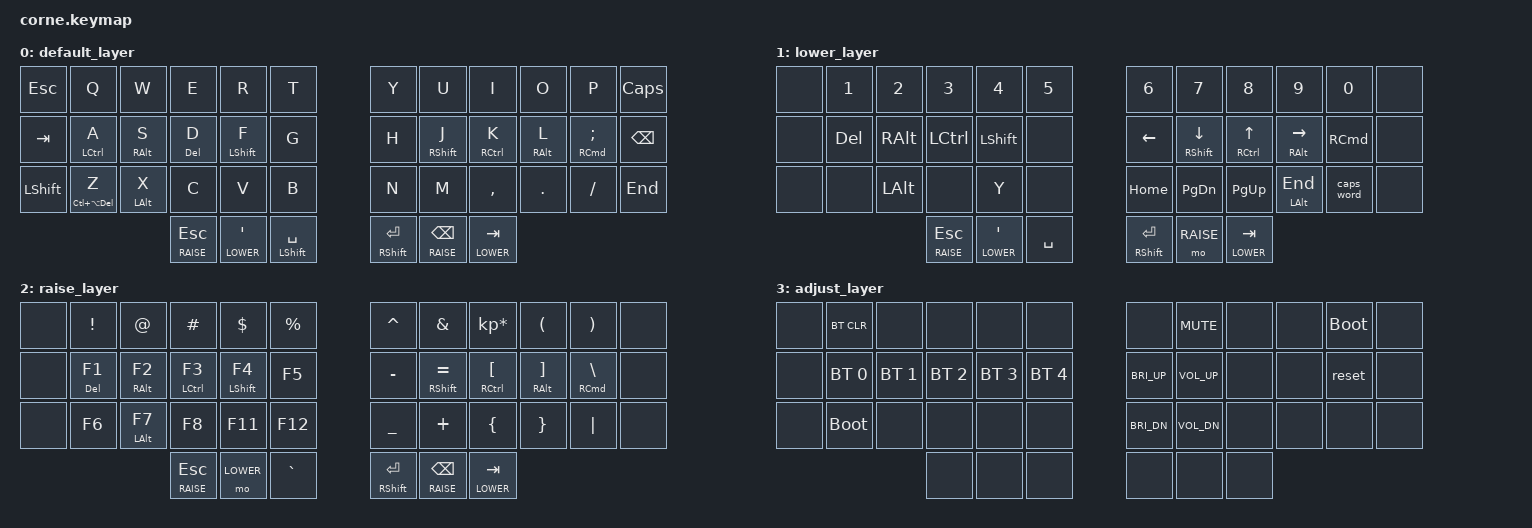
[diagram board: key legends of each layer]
/*
 * Copyright (c) 2020 The ZMK Contributors
 *
 * SPDX-License-Identifier: MIT
 */

#include <behaviors.dtsi>
#include <dt-bindings/zmk/keys.h>
#include <dt-bindings/zmk/bt.h>


#define DEFAULT 0
#define LOWER   1
#define RAISE   2
#define ADJUST  3
#define LWR LOWER
#define RSE RAISE
#define ADJ ADJUST

&mt {
    flavor = "tap-preferred";
    tapping-term-ms = <250>;
    quick_tap_ms = <180>;
};

&lt {
    /* flavor = "balanced"; */
    quick_tap_ms = <200>;
    tapping-term-ms = <180>;
};

/ {
        combos {
           compatible = "zmk,combos";
           combo_lpar {
              timeout-ms = <50>;
              key-positions = <25 26>;
              bindings = <&kp LPAR>;
           };

           combo_rpar {
              timeout-ms = <50>;
              key-positions = <33 34>;
              bindings = <&kp RPAR>;
           };
        };

        conditional_layers {
            compatible = "zmk,conditional-layers";
            tri_layer {
                if-layers = <LOWER RAISE>;
                then-layer = <ADJUST>;
            };
        };

        keymap {
                compatible = "zmk,keymap";

                default_layer {
                        bindings = <
   &kp ESC &kp Q      &kp W      &kp E       &kp R        &kp T         &kp Y         &kp U        &kp I        &kp O      &kp P         &kp CAPS
   &kp TAB &mt LCTRL A &mt RALT S &mt DEL D &mt LSHFT F  &kp G         &kp H         &mt RSHFT J  &mt RCTRL K  &mt RALT L &mt RCMD SEMI &kp BSPC
   &kp LSHFT &mt LC(LA(DEL)) Z      &mt LALT X &kp C       &kp V        &kp B         &kp N         &kp M        &kp COMMA    &kp DOT    &kp FSLH      &kp END
                               &lt RSE ESC &lt LWR QUOT &mt LSHFT SPACE     &mt RSHFT RET &lt RSE BSPC &lt LWR TAB
                        >;
                };
                lower_layer {
                        bindings = <
   &none &kp N1   &kp N2   &kp N3      &kp N4       &kp N5        &kp N6   &kp N7         &kp N8       &kp N9         &kp N0     &none
   &none &kp DEL &kp RALT &kp LCTRL   &kp LSHFT    &none         &kp LEFT &mt RSHFT DOWN &mt RCTRL UP &mt RALT RIGHT &kp RCMD   &none
   &none &none    &kp LALT &none       &kp Y        &none         &kp HOME &kp PG_DN      &kp PG_UP    &mt LALT END   &caps_word &none
                           &lt RSE ESC &lt LWR QUOT &kp SPACE     &mt RSHFT RET &mo RSE &lt LWR TAB
                        >;
                };
                raise_layer {
                        bindings = <
   &none &kp EXCL    &kp AT      &kp HASH     &kp DLLR     &kp PRCNT       &kp CARET    &kp AMPS        &kp KP_MULTIPLY &kp LPAR      &kp RPAR      &none
   &none &mt DEL F1 &mt RALT F2 &mt LCTRL F3 &mt LSHFT F4 &kp F5          &kp MINUS     &mt RSHFT EQUAL &mt RCTRL LBKT  &mt RALT RBKT &mt RCMD BSLH &none
   &none &kp F6      &mt LALT F7 &kp F8       &kp F11       &kp F12         &kp UNDER     &kp PLUS        &kp LBRC        &kp RBRC      &kp PIPE      &none
                                 &lt RSE ESC  &mo LWR      &kp GRAVE       &mt RSHFT RET &lt RSE BSPC    &lt LWR TAB
                        >;
                };
                adjust_layer {
                        bindings = <
   &none &bt BT_CLR   &none        &none        &none        &none            &none           &kp K_MUTE   &none &none &bootloader &none
   &none &bt BT_SEL 0 &bt BT_SEL 1 &bt BT_SEL 2 &bt BT_SEL 3 &bt BT_SEL 4     &kp C_BRI_UP    &kp C_VOL_UP &none &none &reset      &none
   &none &bootloader        &none        &none        &none        &none            &kp C_BRI_DN    &kp C_VOL_DN &none &none &none       &none
                                   &none        &none        &none            &none           &none        &none
                        >;
                };
        };
};

